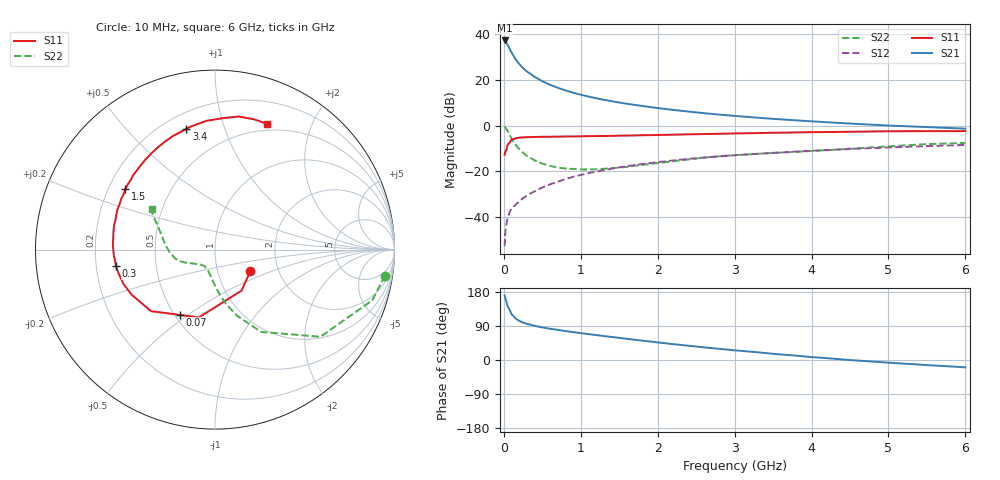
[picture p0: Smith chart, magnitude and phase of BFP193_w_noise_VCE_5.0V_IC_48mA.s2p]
! Infineon Technologies  Discrete & RF Semiconductors
! BFP193
! VCE =  5.0 V,  IC =  48 mA
! Common Emitter S-Parameters:  Jan 2017
# GHz  S  MA  R  50
!  f  S11  S21  S12  S22
! GHz  MAG  ANG  MAG  ANG  MAG  ANG  MAG  ANG
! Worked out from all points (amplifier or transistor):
!   77 points, 10 MHz to 6 GHz, reference 50 ohm
!   highest |S21| = 37.3 dB at 10 MHz (marker M1)
!   |S21| within 3 dB of that: start of sweep to 65.68 MHz
!   unconditionally stable (mu >= 1): 571 MHz to 2.391 GHz
!   at 130 MHz: K = 0.61, MSG = 32.8 dB, |S12| = -35.3 dB
!   at 2.2 GHz: K = 1.01, MAG = 10.5 dB, |S12| = -15.3 dB
!   at 6 GHz: K = 0.93, MSG = 3.6 dB, |S12| = -8.5 dB
!   lowest NFmin = 1.49 dB at 450 MHz
!   S11 on the Smith chart (normalised r, x): 10 MHz: 1.44, -0.36; 70 MHz: 0.53, -0.47; 300 MHz: 0.29, -0.08; 1.5 GHz: 0.27, +0.29; 3.4 GHz: 0.29, +0.75; 6 GHz: 0.43, +1.41
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0.01  0.2301 -31.3  73.04 170.6  0.0023 88.7  0.9582 -8.7
0.02  0.2722 -57.0  71.15 162.2  0.0048 83.1  0.9204 -17.9
0.05  0.3883 -103.4  58.07 140.8  0.0098 67.8  0.7618 -39.6
0.07  0.4135 -118.4  50.05 134.5  0.012 63.6  0.6577 -46.2
0.1  0.4945 -136.1  39.73 120.5  0.0155 59.7  0.526 -60.7
0.15  0.5281 -151.6  28.8 109.9  0.0184 59.3  0.3872 -71.7
0.2  0.5452 -159.7  22.36 103.4  0.0219 61.4  0.306 -78.8
0.25  0.5537 -166.3  18.19 98.6  0.0259 62.8  0.2534 -83.7
0.3  0.5586 -170.5  15.29 95.3  0.0295 63.8  0.2172 -88.0
0.4  0.5645 -176.8  11.64 90.0  0.0365 66.7  0.1731 -94.3
0.5  0.5693 177.8  9.352 86.0  0.0444 67.4  0.1478 -99.6
0.6  0.5708 173.6  7.839 82.5  0.0519 67.9  0.1319 -105.1
0.7  0.5741 170.2  6.731 79.5  0.0592 68.3  0.1203 -109.3
0.8  0.5785 166.7  5.906 76.4  0.0676 68.5  0.1153 -113.1
1.1  0.5881 157.3  4.324 68.4  0.0911 65.9  0.1095 -124.2
1.5  0.6025 146.0  3.197 58.4  0.122 61.9  0.1207 -137.3
2.1  0.6285 130.0  2.314 44.2  0.1656 54.6  0.1587 -151.8
3.1  0.6773 108.8  1.582 23.9  0.2301 41.8  0.231 -169.2
3.4  0.6915 103.3  1.448 18.4  0.2476 38.4  0.2464 -174.4
4.1  0.7212 92.3  1.213 6.3  0.2862 30.0  0.2843 172.1
5.1  0.7532 78.6  0.988 -8.3  0.3371 18.5  0.3597 155.3
6  0.7582 67.5  0.858 -19.4  0.3766 8.5  0.4181 147.4
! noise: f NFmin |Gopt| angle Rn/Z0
0.45  1.49  0.42  -171  0.08
0.9  1.54  0.44  -164  0.08
1.9  2.17  0.61  -132  0.22
2.4  2.5  0.64  -119  0.47
